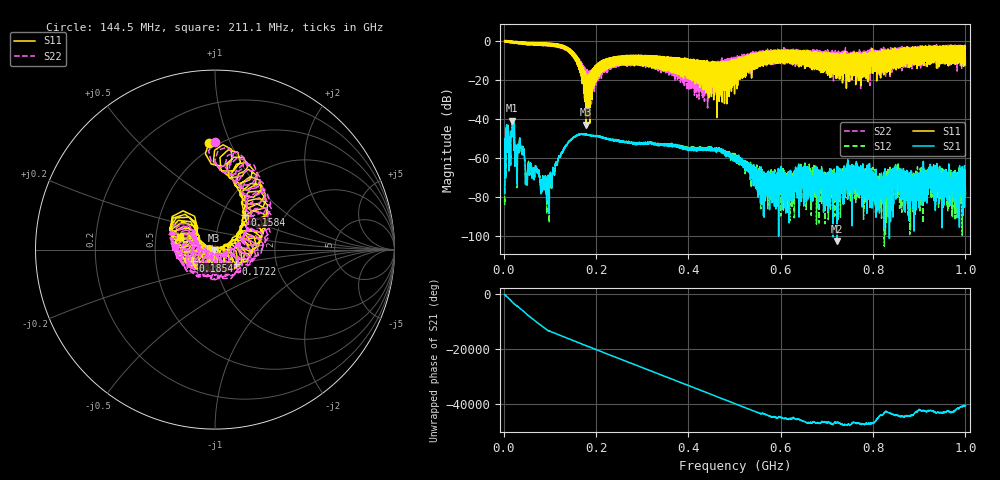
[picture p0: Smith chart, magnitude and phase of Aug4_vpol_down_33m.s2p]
!Keysight Technologies N9923A: A.12.45
!Date: Tuesday, 05 August 2025 20:57:40
!Timezone: (UTC+08:00) Kuala Lumpur, Singapore
!Model: N9923A
!Serial: MY61181427
!GPS Latitude:
!GPS Longitude:
!GPS TimeStamp: 0001-01-01 00:00:00Z
!GPS Seconds Since Last Read: 0
!CHECKSUM:2047951241
!Correction: S11(ON U)S21(ON U)S12(ON U)S22(ON U)
!S2P File: Measurements:S11,S21,S12,S22:
# Hz S DB R 50
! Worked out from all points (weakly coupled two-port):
!   4001 points, 2 MHz to 1 GHz, reference 50 ohm
!   highest |S21| = -40.87 dB at 18.72 MHz (marker M1); lowest = -102.5 dB at 721.6 MHz (marker M2)
!   lowest |S11| = -42.9 dB at 178.4 MHz (marker M3), VSWR 1.01, Z = 49.4 - j0.419 ohm
!   |S11| at or under -10 dB: 162.8 MHz to 215.5 MHz (52.69 MHz wide, 27.9 % of centre); 420.7 MHz to 440.6 MHz (19.92 MHz wide, 4.63 % of centre); 440.6 MHz to 494 MHz (53.37 MHz wide, 11.4 % of centre)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
!   |S22| runs from -34.4 to 0.1 dB; largest |S21 - S12| = 0.0011
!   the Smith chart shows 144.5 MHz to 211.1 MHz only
!   S11 on the Smith chart (normalised r, x): 144.5 MHz: 0.45, +0.84; 158.4 MHz: 1.27, +0.53; 172.2 MHz: 1.25, -0.20; 185.4 MHz: 0.77, -0.10; 211.1 MHz: 0.67, +0.10
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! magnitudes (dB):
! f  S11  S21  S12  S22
! 2 MHz  -0.1  -78.2  -81.2  -0.1
! 7.739 MHz  -0.5  -56.9  -57.0  -0.5
! 18.72 MHz  -0.4  -40.9  -40.9  -0.7
! 28.7 MHz  -0.4  -63.4  -63.1  -0.6
! 39.42 MHz  -1.6  -58.1  -58.2  -1.8
! 51.4 MHz  -1.8  -71.4  -68.7  -1.8
! 94.81 MHz  -2.5  -70.1  -69.2  -2.6
! 144.5 MHz  -4.5  -51.0  -51.0  -4.5
! 158.4 MHz  -11.9  -48.6  -48.6  -11.1
! 168.4 MHz  -18.5  -47.8  -47.7  -16.6
! 172.2 MHz  -17.0  -47.8  -47.8  -16.2
! 178.4 MHz  -42.9  -48.0  -47.8  -24.0
! 185.4 MHz  -17.2  -48.1  -48.1  -19.2
! 211.1 MHz  -13.6  -49.2  -49.1  -12.9
! 334.8 MHz  -8.0  -52.9  -53.0  -10.0
! 445.1 MHz  -17.3  -55.5  -56.4  -21.8
! 501 MHz  -9.8  -60.1  -60.8  -8.9
! 562.9 MHz  -5.9  -82.1  -78.8  -8.1
! 667.4 MHz  -6.2  -70.6  -72.6  -6.3
! 721.6 MHz  -8.7  -102.5  -74.0  -5.9
! 833.8 MHz  -6.1  -85.9  -68.2  -13.1
! 1 GHz  -12.2  -75.3  -79.0  -4.2
